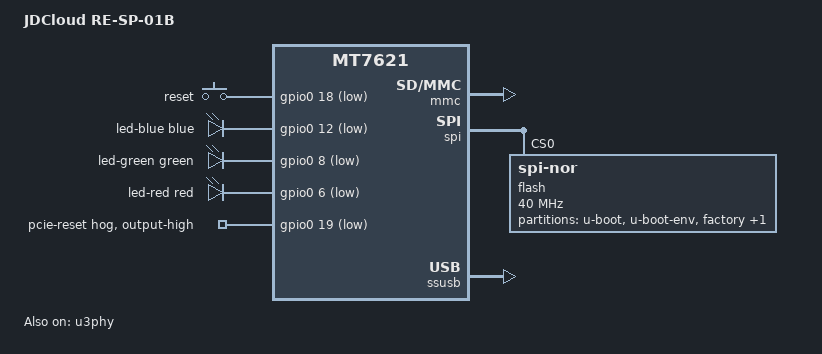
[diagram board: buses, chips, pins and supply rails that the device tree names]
// SPDX-License-Identifier: GPL-2.0-or-later

/dts-v1/;

#include "mt7621.dtsi"

#include <dt-bindings/gpio/gpio.h>
#include <dt-bindings/input/input.h>
#include <dt-bindings/leds/common.h>

/ {
	compatible = "jdcloud,re-sp-01b", "mediatek,mt7621-soc";
	model = "JDCloud RE-SP-01B";

	aliases {
		serial0 = &uart0;
		spi0 = &spi;
	};

	chosen {
		stdout-path = &uart0;
	};

	config {
		boot-btn1 = "reset";
		boot-led1 = "green:status";
		boot-led2 = "red:status";
		bootcmd_1-1 = "tftp_load_initramfs_loop";
		bootcmd_1-2 = "tftp_restore_system_loop";
		bootcmd_1-3 = "setup_netconsole";
	};

	gpio-keys {
		compatible = "gpio-keys";

		button-reset {
			label = "reset";
			linux,code = <KEY_RESTART>;
			gpios = <&gpio0 18 GPIO_ACTIVE_LOW>;
		};
	};

	gpio-leds {
		compatible = "gpio-leds";

		led-blue {
			color = <LED_COLOR_ID_BLUE>;
			function = LED_FUNCTION_STATUS;
			gpios = <&gpio0 12 GPIO_ACTIVE_LOW>;
			default-state = "off";
		};

		led-green {
			color = <LED_COLOR_ID_GREEN>;
			function = LED_FUNCTION_STATUS;
			gpios = <&gpio0 8 GPIO_ACTIVE_LOW>;
			default-state = "on";
		};

		led-red {
			color = <LED_COLOR_ID_RED>;
			function = LED_FUNCTION_STATUS;
			gpios = <&gpio0 6 GPIO_ACTIVE_LOW>;
			default-state = "off";
		};
	};
};

&gpio0 {
	pcie-reset {
		gpio-hog;
		gpios = <19 GPIO_ACTIVE_LOW>;
		output-high;
	};
};

&mmc {
	status = "okay";

	cap-sd-highspeed;
};

&spi {
	status = "okay";

	flash@0 {
		compatible = "jedec,spi-nor";
		reg = <0>;
		spi-max-frequency = <40000000>;

		partitions {
			compatible = "fixed-partitions";
			#address-cells = <1>;
			#size-cells = <1>;

			partition@0 {
				label = "u-boot";
				reg = <0x0000000 0x0030000>;
			};

			partition@30000 {
				label = "u-boot-env";
				reg = <0x0030000 0x0010000>;
			};

			partition@40000 {
				label = "factory";
				reg = <0x0040000 0x0010000>;
			};

			partition@50000 {
				label = "firmware";
				reg = <0x0050000 0x1fb0000>;
			};
		};
	};
};

&ssusb {
	status = "okay";
};

&state_default {
	/delete-node/ rgmii2-gpio_pins;
	/delete-node/ spi-nand_pins;
	/delete-node/ sdxc-nand_pins;
	/delete-node/ sdxc-gpio_pins;

	sdxc_pins {
		groups = "sdxc";
		function = "sdxc";
		bias-disable;
		input-schmitt-disable;
		drive-strength = <6>;
		slew-rate = <1>;
	};
};

&u3phy {
	status = "okay";
};
